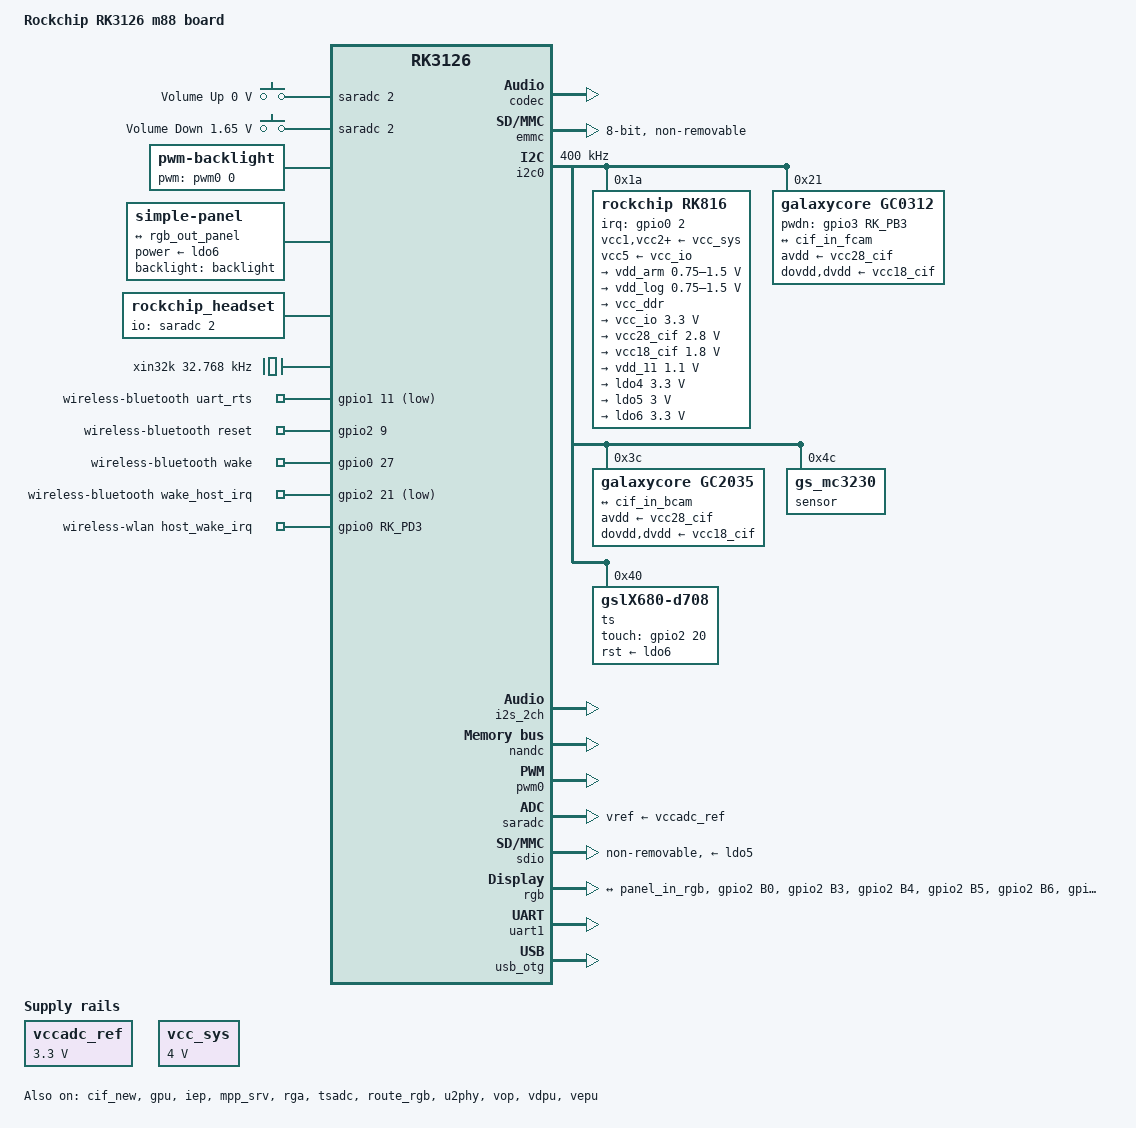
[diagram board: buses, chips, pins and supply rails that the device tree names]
/*
 * Copyright (c) 2017 Fuzhou Rockchip Electronics Co., Ltd
 *
 * SPDX-License-Identifier: (GPL-2.0+ OR MIT)
 */
/dts-v1/;
#include <dt-bindings/gpio/gpio.h>
#include <dt-bindings/input/input.h>
#include <dt-bindings/pinctrl/rockchip.h>
#include <dt-bindings/pwm/pwm.h>
#include <dt-bindings/sensor-dev.h>
#include "rk3126.dtsi"
#include "rk312x-android.dtsi"

/ {
	model = "Rockchip RK3126 m88 board";
	compatible = "rockchip,rk3126-m88", "rockchip,rk3126";

	adc-keys {
		compatible = "adc-keys";
		io-channels = <&saradc 2>;
		io-channel-names = "buttons";
		poll-interval = <100>;
		keyup-threshold-microvolt = <2429000>;

		button-up {
			label = "Volume Up";
			linux,code = <KEY_VOLUMEUP>;
			press-threshold-microvolt = <0>;
		};

		button-down {
			label = "Volume Down";
			linux,code = <KEY_VOLUMEDOWN>;
			press-threshold-microvolt = <1650000>;
		};
	};

	backlight: backlight {
		compatible = "pwm-backlight";
		pwms = <&pwm0 0 25000 0>;
		brightness-levels = <
			0 1 2 3 4 5 6 7 8 9 10
			11 12 13 14 15 16 17 18 19 20
			21 22 23 24 25 26 27 28 29 30
			31 32 33 34 35 36 37 38 39 40
			41 42 43 44 45 46 47 48 49 50
			51 52 53 54 55 56 57 58 59 60
			61 62 63 64 65 66 67 68 69 70
			71 72 73 74 75 76 77 78 79 80
			81 82 83 84 85 86 87 88 89 90
			91 92 93 94 95 96 97 98 99 100
			101 102 103 104 105 106 107 108
			109 110 111 112 113 114 115 116
			117 118 119 120 121 122 123 124
			125 126 127 128 129 130 131 132
			133 134 135 136 137 138 139 140
			141 142 143 144 145 146 147 148
			149 150 151 152 153 154 155 156
			157 158 159 160 161 162 163 164
			165 166 167 169 169 170 171 172
			173 174 175 176 177 178 179 180
			181 182 183 184 185 186 187 188
			189 190 191 192 193 194 195 196
			197 198 199 200 201 202 203 204
			205 208 208 208 209 210 211 212
			213 214 215 216 217 218 219 220
			221 222 223 224 225 226 227 228
			229 230 231 232 233 234 235 236
			237 238 239 240 241 242	243 244
			245 246 247 248 249 250 251 252
			253 254 255>;
		default-brightness-level = <128>;
	};

	charge-animation {
		compatible = "rockchip,uboot-charge";
		rockchip,uboot-charge-on = <1>;
		rockchip,android-charge-on = <0>;
		rockchip,uboot-low-power-voltage = <3500>;
		rockchip,screen-on-voltage = <3600>;
		status = "okay";
	};

	panel {
		compatible = "simple-panel";
		backlight = <&backlight>;
		power-supply = <&ldo6>;
		power-invert;
		enable-delay-ms = <120>;
		disable-delay-ms = <20>;
		unprepare-delay-ms = <20>;
		bus-format = <MEDIA_BUS_FMT_RGB666_1X18>;

		width-mm = <153>;
		height-mm = <85>;

		display-timings {
			native-mode = <&timing0>;

			timing0: timing0 {
				clock-frequency = <51200000>;
				hactive = <1024>;
				vactive = <600>;
				hback-porch = <100>;
				hfront-porch = <120>;
				vback-porch = <10>;
				vfront-porch = <15>;
				hsync-len = <100>;
				vsync-len = <10>;
				hsync-active = <0>;
				vsync-active = <0>;
				de-active = <0>;
				pixelclk-active = <0>;
			};
		};

		port {
			panel_in_rgb: endpoint {
				remote-endpoint = <&rgb_out_panel>;
			};
		};
	};

	rockchip_headset {
		compatible = "rockchip_headset";
		io-channels = <&saradc 2>;
	};

	sound {
		compatible = "simple-audio-card";
		simple-audio-card,format = "i2s";
		simple-audio-card,mclk-fs = <256>;
		simple-audio-card,name = "rockchip,rk312x";
		simple-audio-card,cpu {
			sound-dai = <&i2s_2ch>;
		};
		simple-audio-card,codec {
			sound-dai = <&codec>;
		};
	};

	vccadc_ref: vccadc-ref {
		compatible = "regulator-fixed";
		regulator-name = "SARADC_AVDD33";
		regulator-always-on;
		regulator-boot-on;
		regulator-min-microvolt = <3300000>;
		regulator-max-microvolt = <3300000>;
	};

	vcc_sys: vcc-sys {
		compatible = "regulator-fixed";
		regulator-name = "vcc_sys";
		regulator-min-microvolt = <4000000>;
		regulator-max-microvolt = <4000000>;
		regulator-always-on;
	};

	xin32k: xin32k {
		compatible = "fixed-clock";
		clock-frequency = <32768>;
		clock-output-names = "xin32k";
		#clock-cells = <0>;
	};

	wireless-bluetooth {
		compatible = "bluetooth-platdata";
		/* wifi-bt-power-toggle; */

		keep_wifi_power_on = <1>;
		uart_rts_gpios = <&gpio1 11 GPIO_ACTIVE_LOW>; /* GPIO1_B3 */
		pinctrl-names = "default","rts_gpio";
		pinctrl-0 = <&uart1_rts>;
		pinctrl-1 = <&uart1_rts_gpio>;
		BT,reset_gpio = <&gpio2 9 GPIO_ACTIVE_HIGH>; /* GPIO2_B1 */
		BT,wake_gpio = <&gpio0 27 GPIO_ACTIVE_HIGH>; /* GPIO0_D3 */
		BT,wake_host_irq = <&gpio2 21 GPIO_ACTIVE_LOW>; /* GPIO2_C5 */
		status = "okay";
	};

	wireless-wlan {
		compatible = "wlan-platdata";

		wifi_chip_type = "rtl8723cs";
		WIFI,host_wake_irq = <&gpio0 RK_PD3 GPIO_ACTIVE_HIGH>;
		status = "okay";
	};
};

&codec {
	#sound-dai-cells = <0>;
	spk-ctl-gpios = <&gpio2 10 GPIO_ACTIVE_HIGH>;
	spk-mute-delay = <200>;
	hp-mute-delay = <100>;
	is_rk3128 = <0>;
	spk_volume = <25>;
	hp_volume = <25>;
	capture_volume = <26>;
	gpio_debug = <1>;
	codec_hp_det = <0>;
	status = "okay";
};

&cif_new {
	status = "okay";

	ports {
		port@0 {
			cif_in_fcam: endpoint@0 {
				remote-endpoint =  <&gc0312_out>;
				vsync-active = <0>;
				hsync-active = <1>;
			};

			cif_in_bcam: endpoint@1 {
				remote-endpoint = <&gc2035_out>;
				vsync-active = <1>;
				hsync-active = <1>;
			};
		};
	};
};

&cpu0 {
	cpu-supply = <&vdd_arm>;
};

&dmc {
	center-supply = <&vdd_log>;
};

&emmc {
	bus-width = <8>;
	cap-mmc-highspeed;
	supports-emmc;
	mmc-ddr-1_8v;
	disable-wp;
	non-removable;
	num-slots = <1>;
	status = "okay";
};

&gpu {
	status = "okay";
	mali-supply = <&vdd_log>;
};

&i2c0 {
	status = "okay";
	clock-frequency = <400000>;

	rk816: pmic@1a {
		compatible = "rockchip,rk816";
		reg = <0x1a>;
		interrupt-parent = <&gpio0>;
		interrupts = <2 IRQ_TYPE_LEVEL_LOW>;
		pinctrl-names = "default";
		pinctrl-0 = <&pmic_int_l>;
		rockchip,system-power-controller;
		wakeup-source;
		gpio-controller;
		#gpio-cells = <2>;
		#clock-cells = <1>;
		clock-output-names = "rk816-clkout1", "rk816-clkout2";
		extcon = <&u2phy>;

		vcc1-supply = <&vcc_sys>;
		vcc2-supply = <&vcc_sys>;
		vcc3-supply = <&vcc_sys>;
		vcc4-supply = <&vcc_sys>;
		vcc5-supply = <&vcc_io>;
		vcc6-supply = <&vcc_sys>;

		gpio {
			status = "okay";
		};

		pwrkey {
			status = "okay";
		};

		rtc {
			status = "okay";
		};

		battery {
			compatible = "rk816-battery";
			ocv_table = < 3500 3625 3685 3697 3718 3735 3748
					3760 3774 3788 3802 3816 3834 3853
					3877 3908 3946 3975 4018 4071 4106>;
			design_capacity = <2500>;
			design_qmax = <2750>;
			bat_res = <100>;
			max_input_current = <1500>;
			max_chrg_current = <1300>;
			max_chrg_voltage = <4200>;
			sleep_enter_current = <300>;
			sleep_exit_current = <300>;
			sleep_filter_current = <100>;
			power_off_thresd = <3500>;
			zero_algorithm_vol = <3850>;
			max_soc_offset = <60>;
			monitor_sec = <5>;
			virtual_power = <0>;
			power_dc2otg = <0>;
			dc_det_adc = <0>;
		};

		regulators {

			vdd_arm: DCDC_REG1{
				regulator-name= "vdd_arm";
				regulator-min-microvolt = <750000>;
				regulator-max-microvolt = <1500000>;
				regulator-ramp-delay = <6001>;
				regulator-initial-mode = <1>;
				regulator-always-on;
				regulator-boot-on;
				regulator-state-mem {
					regulator-off-in-suspend;
					regulator-suspend-microvolt = <900000>;
				};
			};

			vdd_log: DCDC_REG2 {
				regulator-name= "vdd_logic";
				regulator-min-microvolt = <750000>;
				regulator-max-microvolt = <1500000>;
				regulator-ramp-delay = <6001>;
				regulator-initial-mode = <1>;
				regulator-always-on;
				regulator-boot-on;
				regulator-state-mem {
					regulator-on-in-suspend;
					regulator-suspend-microvolt = <1000000>;
				};
			};

			vcc_ddr: DCDC_REG3 {
				regulator-name = "vcc_ddr";
				regulator-always-on;
				regulator-boot-on;
			};

			vcc_io: DCDC_REG4 {
				regulator-name = "vcc_io";
				regulator-min-microvolt = <3300000>;
				regulator-max-microvolt = <3300000>;
				regulator-initial-mode = <1>;
				regulator-always-on;
				regulator-boot-on;
				regulator-state-mem {
					regulator-on-in-suspend;
					regulator-suspend-microvolt = <3000000>;
				};
			};

			vcc28_cif: LDO_REG1 {
				regulator-name = "vcc28_cif";
				regulator-min-microvolt = <2800000>;
				regulator-max-microvolt = <2800000>;
				regulator-always-on;
				regulator-boot-on;
				regulator-state-mem {
					regulator-off-in-suspend;
				};
			};

			vcc18_cif: LDO_REG2 {
				regulator-name = "vcc18_cif";
				regulator-min-microvolt = <1800000>;
				regulator-max-microvolt = <1800000>;
				regulator-always-on;
				regulator-boot-on;
				regulator-state-mem {
					regulator-off-in-suspend;
				};
			};

			vdd_11: LDO_REG3 {
				regulator-name = "vdd_11";
				regulator-min-microvolt = <1100000>;
				regulator-max-microvolt = <1100000>;
				regulator-always-on;
				regulator-boot-on;
				regulator-state-mem {
					regulator-on-in-suspend;
					regulator-suspend-microvolt = <1100000>;
				};
			};

			ldo4: LDO_REG4 {
				regulator-name= "ldo4";
				regulator-min-microvolt = <3300000>;
				regulator-max-microvolt = <3300000>;
				regulator-always-on;
				regulator-boot-on;
				regulator-state-mem {
					regulator-off-in-suspend;
				};
			};

			ldo5: LDO_REG5 {
				regulator-name= "ldo5";
				regulator-min-microvolt = <3000000>;
				regulator-max-microvolt = <3000000>;
				regulator-always-on;
				regulator-boot-on;
				regulator-state-mem {
					regulator-on-in-suspend;
				};
			};

			ldo6: LDO_REG6 {
				regulator-name= "ldo6";
				regulator-min-microvolt = <3300000>;
				regulator-max-microvolt = <3300000>;
				regulator-state-mem {
					regulator-on-in-suspend;
					regulator-suspend-microvolt = <3300000>;
				};
			};
		};
	};

	gc0312@21 {
		compatible = "galaxycore,gc0312";
		reg = <0x21>;

		clocks = <&cru SCLK_CIF_OUT>;
		clock-names = "xvclk";

		avdd-supply = <&vcc28_cif>;
		dovdd-supply = <&vcc18_cif>;
		dvdd-supply = <&vcc18_cif>;

		pwdn-gpios = <&gpio3 RK_PB3 GPIO_ACTIVE_HIGH>;
		rockchip,camera-module-index = <1>;
		rockchip,camera-module-facing = "front";
		rockchip,camera-module-name = "default";
		rockchip,camera-module-lens-name = "default";
		port {
			gc0312_out: endpoint {
				remote-endpoint = <&cif_in_fcam>;
			};
		};
	};

	gc2035@3c {
		compatible = "galaxycore,gc2035";
		reg = <0x3c>;

		clocks = <&cru SCLK_CIF_OUT>;
		clock-names = "xvclk";

		avdd-supply = <&vcc28_cif>;
		dovdd-supply = <&vcc18_cif>;
		dvdd-supply = <&vcc18_cif>;

		//pwdn-gpios = <&rk816 0 GPIO_ACTIVE_HIGH>;
		rockchip,camera-module-index = <0>;
		rockchip,camera-module-facing = "back";
		rockchip,camera-module-name = "default";
		rockchip,camera-module-lens-name = "default";
		port {
			gc2035_out: endpoint {
				remote-endpoint = <&cif_in_bcam>;
			};
		};
	};

	sensor@4c {
		compatible = "gs_mc3230";
		reg = <0x4c>;
		type = <SENSOR_TYPE_ACCEL>;
		irq_enable = <0>;
		poll_delay_ms = <30>;
		layout = <2>;
		reprobe_en = <1>;
	};

	ts@40 {
		compatible = "gslX680-d708";
		reg = <0x40>;
		touch-gpio = <&gpio2 20 IRQ_TYPE_LEVEL_LOW>;
		//wake-gpio = <&gpio2 12 IRQ_TYPE_LEVEL_LOW>;
		rst-supply = <&ldo6>;
		screen_max_x = <800>;
		screen_max_y = <480>;
		revert_y = <0>;
		status = "okay";
	};

};

&i2s_2ch {
	#sound-dai-cells = <0>;
	status = "okay";
};

&iep {
	status = "okay";
};

&iep_mmu {
	status = "okay";
};

&mpp_srv {
	status = "okay";
};

&nandc {
	status = "okay";
};

&pinctrl {
	lcdc {
		lcdc_rgb_pins: lcdc-rgb-pins {
			rockchip,pins =
				<2 RK_PB0 1 &pcfg_pull_none>, /* DCLK */
				<2 RK_PB3 1 &pcfg_pull_none>, /* DEN */
				<2 RK_PB4 1 &pcfg_pull_none>, /* DATA10 */
				<2 RK_PB5 1 &pcfg_pull_none>, /* DATA11 */
				<2 RK_PB6 1 &pcfg_pull_none>, /* DATA12 */
				<2 RK_PB7 1 &pcfg_pull_none>, /* DATA13 */
				<2 RK_PC0 1 &pcfg_pull_none>, /* DATA14 */
				<2 RK_PC1 1 &pcfg_pull_none>, /* DATA15 */
				<2 RK_PC2 1 &pcfg_pull_none>, /* DATA16 */
				<2 RK_PC3 1 &pcfg_pull_none>; /* DATA17 */
		};

		lcdc_sleep_pins: lcdc-sleep-pins {
			rockchip,pins =
				<2 RK_PB0 RK_FUNC_GPIO &pcfg_pull_none>, /* DCLK */
				<2 RK_PB3 RK_FUNC_GPIO &pcfg_pull_none>, /* DEN */
				<2 RK_PB4 RK_FUNC_GPIO &pcfg_pull_none>, /* DATA10 */
				<2 RK_PB5 RK_FUNC_GPIO &pcfg_pull_none>, /* DATA11 */
				<2 RK_PB6 RK_FUNC_GPIO &pcfg_pull_none>, /* DATA12 */
				<2 RK_PB7 RK_FUNC_GPIO &pcfg_pull_none>, /* DATA13 */
				<2 RK_PC0 RK_FUNC_GPIO &pcfg_pull_none>, /* DATA14 */
				<2 RK_PC1 RK_FUNC_GPIO &pcfg_pull_none>, /* DATA15 */
				<2 RK_PC2 RK_FUNC_GPIO &pcfg_pull_none>, /* DATA16 */
				<2 RK_PC3 RK_FUNC_GPIO &pcfg_pull_none>; /* DATA17 */
		};
	};

	pmic {
		pmic_int_l: pmic-int-l {
			rockchip,pins =
				<0 RK_PA2 RK_FUNC_GPIO &pcfg_pull_default>;
		};
	};

	wireless-bluetooth {
		uart1_rts_gpio: uart1-rts-gpio {
			rockchip,pins = <1 RK_PB3 RK_FUNC_GPIO &pcfg_pull_none>;
		};
	};
};

&pwm0 {
	status = "okay";
};

&rga {
	status = "okay";
};

&saradc {
	status = "okay";
	vref-supply = <&vccadc_ref>;
};

&sdmmc {
	cap-mmc-highspeed;
	supports-sd;
	broken-cd;
	card-detect-delay = <800>;
	ignore-pm-notify;
	keep-power-in-suspend;
	/*cd-gpios = <&gpio2 4 GPIO_ACTIVE_HIGH>; [> CD GPIO <]*/
	status = "disabled";
};

&sdio {
	max-frequency = <50000000>;
	cap-sd-highspeed;
	supports-sdio;
	ignore-pm-notify;
	keep-power-in-suspend;
	non-removable;
	vmmc-supply = <&ldo5>;
	status = "okay";
};

&tsadc {
	status = "okay";
};

&rgb {
	pinctrl-names = "default", "sleep";
	pinctrl-0 = <&lcdc_rgb_pins>;
	pinctrl-1 = <&lcdc_sleep_pins>;
	status = "okay";

	ports {
		port@1 {
			reg = <1>;

			rgb_out_panel: endpoint {
				remote-endpoint = <&panel_in_rgb>;
			};
		};
	};
};

&route_rgb {
	status = "okay";
};

&u2phy {
	status = "okay";

	u2phy_otg: otg-port {
		status = "okay";
	};

	u2phy_host: host-port {
		status = "okay";
	};
};

&uart1 {
	pinctrl-names = "default";
	pinctrl-0 = <&uart1_xfer &uart1_cts>;
	status = "okay";
};

&usb_otg {
	status = "okay";
};

&vop {
	status = "okay";
};

&vop_mmu {
	status = "okay";
};

&vdpu {
	status = "okay";
};

&vepu {
	status = "okay";
};

&vpu_mmu {
	status = "okay";
};
